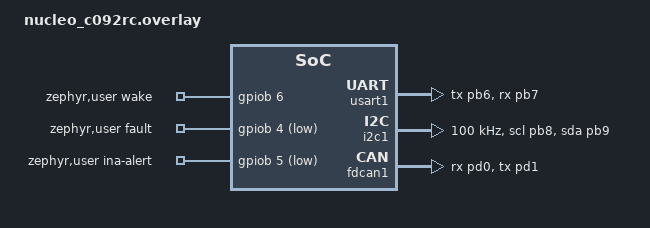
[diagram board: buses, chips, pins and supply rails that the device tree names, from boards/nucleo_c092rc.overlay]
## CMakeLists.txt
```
cmake_minimum_required(VERSION 3.20.0)

find_package(Zephyr REQUIRED HINTS $ENV{ZEPHYR_BASE})
project(bms_firmware)

target_sources(app PRIVATE
    src/main.c
    src/debug/debug.c
    src/uart/uart.c
    src/i2c/i2c.c
    src/can/can.c
    src/protocols/bq796xx_protocol.c
    src/protocols/ina238_protocol.c
    src/protocols/bms_protocol.c
    src/metrics/metrics.c
    src/telemetry/telemetry.c
    src/monitor/init/init.c
    src/monitor/voltage/voltage.c
    src/monitor/temperature/temperature.c
    src/monitor/faults/faults.c
    src/monitor/balancing/balancing.c
    src/monitor/current/current.c
)

target_include_directories(app PRIVATE
    src
    src/debug
    src/uart
    src/i2c
    src/can
    src/protocols
    src/metrics
    src/telemetry
    src/monitor/init
    src/monitor/register_maps
    src/monitor/voltage
    src/monitor/temperature
    src/monitor/faults
    src/monitor/balancing
    src/monitor/current
)
```

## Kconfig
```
mainmenu "BMS Monitor"

menu "Application monitor options"

config APP_VOLTAGE_MONITORING
    bool "Enable voltage monitoring"
    default y
    help
      Enable cell voltage monitoring.

config APP_TEMPERATURE_MONITORING
    bool "Enable temperature monitoring"
    default y
    help
      Enable temperature monitoring.

config APP_CURRENT_MONITORING
    bool "Enable current monitoring"
    default y
    help
      Enable current monitoring.

config APP_FAULT_MONITORING
    bool "Enable fault monitoring"
    default y
    depends on APP_VOLTAGE_MONITORING || APP_TEMPERATURE_MONITORING || APP_CURRENT_MONITORING
    help
      Enable fault monitoring.

config APP_CELL_BALANCING
    bool "Enable cell balancing"
    default y
    depends on APP_VOLTAGE_MONITORING
    help
      Enable cell balancing.

config APP_CAN_TELEMETRY
    bool "Enable CAN telemetry transmission"
    default y
    depends on APP_VOLTAGE_MONITORING || APP_TEMPERATURE_MONITORING || APP_CURRENT_MONITORING
    help
      Enable BMS telemetry transmission over CAN.

endmenu

menu "Application debug options"

config APP_DEBUG_PRINTS
    bool "Enable application debug printing"
    default y
    help
      Master switch for application debug printing helpers.

config APP_DEBUG_VOLTAGES
    bool "Enable voltage debug printing"
    default y
    depends on APP_DEBUG_PRINTS && APP_VOLTAGE_MONITORING
    help
      Print cell voltage debug output.

config APP_DEBUG_TEMPERATURES
    bool "Enable temperature debug printing"
    default y
    depends on APP_DEBUG_PRINTS && APP_TEMPERATURE_MONITORING
    help
      Print temperature debug output.

config APP_DEBUG_CURRENT
    bool "Enable current debug printing"
    default y
    depends on APP_DEBUG_PRINTS && APP_CURRENT_MONITORING
    help
      Print current debug output.

config APP_DEBUG_FAULTS
    bool "Enable fault debug printing"
    default y
    depends on APP_DEBUG_PRINTS && APP_FAULT_MONITORING
    help
      Print fault debug output.

config APP_DEBUG_BALANCING
    bool "Enable cell balancing debug printing"
    default y
    depends on APP_DEBUG_PRINTS && APP_CELL_BALANCING
    help
      Print cell balancing debug output.

config APP_DEBUG_CAN_TELEMETRY
    bool "Enable CAN telemetry debug printing"
    default y
    depends on APP_DEBUG_PRINTS && APP_CAN_TELEMETRY
    help
      Print CAN telemetry debug output.

endmenu

source "Kconfig.zephyr"
```

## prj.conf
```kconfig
CONFIG_GPIO=y
CONFIG_I2C=y
CONFIG_CAN=y
CONFIG_SERIAL=y
CONFIG_CONSOLE=y
CONFIG_LOG=y
CONFIG_LOG_MODE_DEFERRED=y
CONFIG_LOG_DEFAULT_LEVEL=3
CONFIG_LOG_BACKEND_UART=y
CONFIG_PRINTK=y
CONFIG_UART_ASYNC_API=y
CONFIG_UART_USE_RUNTIME_CONFIGURE=y
CONFIG_LOG_BUFFER_SIZE=4096
CONFIG_LOG_MODE_OVERFLOW=y
CONFIG_MAIN_STACK_SIZE=4096
CONFIG_STACK_SENTINEL=y

CONFIG_APP_VOLTAGE_MONITORING=y
CONFIG_APP_TEMPERATURE_MONITORING=y
CONFIG_APP_CURRENT_MONITORING=y
CONFIG_APP_FAULT_MONITORING=y
CONFIG_APP_CELL_BALANCING=y
CONFIG_APP_CAN_TELEMETRY=y

CONFIG_APP_DEBUG_PRINTS=y
CONFIG_APP_DEBUG_VOLTAGES=y
CONFIG_APP_DEBUG_TEMPERATURES=y
CONFIG_APP_DEBUG_CURRENT=y
CONFIG_APP_DEBUG_FAULTS=y
CONFIG_APP_DEBUG_BALANCING=y
CONFIG_APP_DEBUG_CAN_TELEMETRY=y
```

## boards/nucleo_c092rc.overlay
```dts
/ {
	zephyr,user {
		wake-gpios = <&gpiob 6 GPIO_ACTIVE_HIGH>;
		fault-gpios = <&gpiob 4 GPIO_ACTIVE_LOW>;
		ina-alert-gpios = <&gpiob 5 GPIO_ACTIVE_LOW>;
	};
};

&pinctrl {
	usart1_tx_pb6: usart1_tx_pb6 {
		pinmux = <STM32_PINMUX('B', 6, AF0)>;
		bias-pull-up;
	};

	usart1_rx_pb7: usart1_rx_pb7 {
		pinmux = <STM32_PINMUX('B', 7, AF0)>;
	};

	i2c1_scl_pb8: i2c1_scl_pb8 {
		pinmux = <STM32_PINMUX('B', 8, AF6)>;
		bias-pull-up;
		drive-open-drain;
	};

	i2c1_sda_pb9: i2c1_sda_pb9 {
		pinmux = <STM32_PINMUX('B', 9, AF6)>;
		bias-pull-up;
		drive-open-drain;
	};

	fdcan1_rx_pd0: fdcan1_rx_pd0 {
		pinmux = <STM32_PINMUX('D', 0, AF4)>;
	};

	fdcan1_tx_pd1: fdcan1_tx_pd1 {
		pinmux = <STM32_PINMUX('D', 1, AF4)>;
	};
};

&usart1 {
	pinctrl-0 = <&usart1_tx_pb6 &usart1_rx_pb7>;
	pinctrl-names = "default";

	dmas = <&dma1 1 51 (STM32_DMA_PERIPH_TX | STM32_DMA_PRIORITY_HIGH)>,
	       <&dma1 2 50 (STM32_DMA_PERIPH_RX | STM32_DMA_PRIORITY_HIGH)>;
	dma-names = "tx", "rx";
};

&i2c1 {
	pinctrl-0 = <&i2c1_scl_pb8 &i2c1_sda_pb9>;
	pinctrl-names = "default";
	clock-frequency = <I2C_BITRATE_STANDARD>;
};

&fdcan1 {
	pinctrl-0 = <&fdcan1_rx_pd0 &fdcan1_tx_pd1>;
	pinctrl-names = "default";
};
```

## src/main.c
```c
#include "init.h"
#include "debug.h"
#include "voltage.h"
#include "temperature.h"
#include "current.h"
#include "faults.h"
#include "balancing.h"
#include "metrics.h"
#include "telemetry.h"

#include <zephyr/kernel.h>
#include <zephyr/logging/log.h>
#include <stdbool.h>

LOG_MODULE_REGISTER(main, LOG_LEVEL_INF);

#if defined(CONFIG_APP_VOLTAGE_MONITORING) || defined(CONFIG_APP_TEMPERATURE_MONITORING)
#define APP_BQ796XX_MONITORING 1
#endif

int main(void)
{
    int ret;

#if defined(CONFIG_APP_VOLTAGE_MONITORING)
    cell_voltage_data_t voltages;
#endif
#if defined(CONFIG_APP_TEMPERATURE_MONITORING)
    temperature_data_t temperatures;
#endif
#if defined(CONFIG_APP_CURRENT_MONITORING)
    current_data_t current;
#endif
#if defined(CONFIG_APP_FAULT_MONITORING)
    fault_data_t faults = {0};
#endif
#if defined(CONFIG_APP_CAN_TELEMETRY)
    bms_metrics_t metrics;
#endif
#if defined(CONFIG_APP_CELL_BALANCING)
    balancing_data_t balancing = {0};
    balancing_state_t previous_balancing_state;
    uint16_t previous_selected_cells;
#endif

#if defined(CONFIG_APP_CURRENT_MONITORING) || defined(APP_BQ796XX_MONITORING)
    LOG_INF("battery monitor startup");

    ret = monitor_init();
    if (ret < 0)
    {
        LOG_ERR("monitor_init failed: %d", ret);
        return 0;
    }

    LOG_INF("monitor init complete");
#else
    LOG_INF("all monitor backends disabled");
#endif

#if defined(CONFIG_APP_VOLTAGE_MONITORING)
    ret = voltage_init();
    if (ret < 0)
    {
        LOG_ERR("voltage_init failed: %d", ret);
        return 0;
    }

    LOG_INF("voltage init complete");
#else
    LOG_INF("voltage monitoring disabled");
#endif

#if defined(CONFIG_APP_TEMPERATURE_MONITORING)
    ret = temperature_init();
    if (ret < 0)
    {
        LOG_ERR("temperature_init failed: %d", ret);
        return 0;
    }

    LOG_INF("temperature init complete");
#else
    LOG_INF("temperature monitoring disabled");
#endif

#if defined(CONFIG_APP_CURRENT_MONITORING)
    ret = current_init();
    if (ret < 0)
    {
        LOG_ERR("current_init failed: %d", ret);
        return 0;
    }

    LOG_INF("current init complete");
#else
    LOG_INF("current monitoring disabled");
#endif

#if defined(CONFIG_APP_FAULT_MONITORING)
    ret = faults_init();
    if (ret < 0)
    {
        LOG_ERR("faults_init failed: %d", ret);
        return 0;
    }

    LOG_INF("faults init complete");
#else
    LOG_INF("fault monitoring disabled");
#endif

#if defined(CONFIG_APP_CELL_BALANCING)
    ret = balancing_init();
    if (ret < 0)
    {
        LOG_ERR("balancing_init failed: %d", ret);
        return 0;
    }

    LOG_INF("balancing init complete");
#else
    LOG_INF("cell balancing disabled");
#endif

#if defined(CONFIG_APP_CAN_TELEMETRY)
    LOG_INF("CAN telemetry init complete");
#else
    LOG_INF("CAN telemetry disabled");
#endif

    k_msleep(10);

#if defined(APP_BQ796XX_MONITORING)
    ret = commit_customer_crc();
    if (ret < 0)
    {
        LOG_ERR("commit_customer_crc failed: %d", ret);
        return 0;
    }

    LOG_INF("customer CRC commit complete");
#endif

#if defined(CONFIG_APP_FAULT_MONITORING)
    ret = read_faults(&faults);
    if (ret < 0)
    {
        LOG_ERR("read_faults failed: %d", ret);
    }
    else
    {
        debug_print_faults(&faults);
    }

    k_msleep(2000);

    ret = clear_faults();
    if (ret < 0)
    {
        LOG_ERR("clear_faults failed: %d", ret);
    }
    else
    {
        LOG_INF("faults clear complete");
        faults = (fault_data_t){0};
    }

    k_msleep(2000);
#endif

    while (1)
    {
#if defined(CONFIG_APP_CAN_TELEMETRY)
        bool have_voltages = false;
        bool have_temperatures = false;
        bool have_current = false;
#endif
#if defined(CONFIG_APP_FAULT_MONITORING)
        bool had_fault_interrupt = false;
#endif

#if defined(CONFIG_APP_FAULT_MONITORING)
        if (faults_pending())
        {
            faults_clear_pending();
            had_fault_interrupt = true;
        }
#endif

#if defined(CONFIG_APP_VOLTAGE_MONITORING)
        ret = read_cell_voltages(&voltages);
        if (ret < 0)
        {
            LOG_ERR("read_cell_voltages failed: %d", ret);

#if defined(CONFIG_APP_CELL_BALANCING)
            ret = balancing_stop();
            if (ret < 0)
            {
                LOG_ERR("balancing_stop failed: %d", ret);
            }
#endif

            k_msleep(1000);
            continue;
        }

        debug_print_voltages(&voltages);
#if defined(CONFIG_APP_CAN_TELEMETRY)
        have_voltages = true;
#endif
#endif

#if defined(CONFIG_APP_CURRENT_MONITORING)
        ret = read_current(&current);
        if (ret < 0)
        {
            LOG_ERR("read_current failed: %d", ret);
        }
        else
        {
            debug_print_current(&current);
#if defined(CONFIG_APP_CAN_TELEMETRY)
            have_current = true;
#endif
        }
#endif

#if defined(CONFIG_APP_CELL_BALANCING)
        previous_balancing_state = balancing.state;
        previous_selected_cells = balancing.selected_cells;

        ret = balancing_update(&voltages, &balancing);
        if (ret < 0)
        {
            LOG_ERR("balancing_update failed: %d", ret);

            ret = balancing_stop();
            if (ret < 0)
            {
                LOG_ERR("balancing_stop failed: %d", ret);
            }
        }
        else
        {
            if (previous_balancing_state == BALANCING_STATE_RUNNING &&
                balancing.state == BALANCING_STATE_COMPLETE)
            {
                k_msleep(100);
                ret = read_cell_voltages(&voltages);
                if (ret < 0)
                {
                    LOG_ERR("post-balance read_cell_voltages failed: %d", ret);
                }
            }

            debug_print_balancing(&voltages,
                                  &balancing,
                                  previous_balancing_state,
                                  previous_selected_cells);
        }
#endif

#if defined(CONFIG_APP_TEMPERATURE_MONITORING)
        ret = read_temperatures(&temperatures);
        if (ret < 0)
        {
            LOG_ERR("read_temperatures failed: %d", ret);
        }
        else
        {
            debug_print_temperatures(&temperatures);
#if defined(CONFIG_APP_CAN_TELEMETRY)
            have_temperatures = true;
#endif
        }
#endif

#if defined(CONFIG_APP_FAULT_MONITORING)
        ret = read_faults(&faults);
        if (ret < 0)
        {
            LOG_ERR("read_faults failed: %d", ret);
        }
        else if (had_fault_interrupt)
        {
            debug_print_faults(&faults);
        }
#endif

#if defined(CONFIG_APP_CAN_TELEMETRY)
        calculate_metrics(
#if defined(CONFIG_APP_VOLTAGE_MONITORING)
            have_voltages ? &voltages : NULL,
#else
            NULL,
#endif
#if defined(CONFIG_APP_TEMPERATURE_MONITORING)
            have_temperatures ? &temperatures : NULL,
#else
            NULL,
#endif
#if defined(CONFIG_APP_CURRENT_MONITORING)
            have_current ? &current : NULL,
#else
            NULL,
#endif
            &metrics);

        ret = telemetry_transmit(
            &metrics,
#if defined(CONFIG_APP_FAULT_MONITORING)
            &faults
#else
            NULL
#endif
        );
        if (ret < 0)
        {
            LOG_ERR("telemetry_transmit failed: %d", ret);
        }
        else
        {
            debug_print_telemetry(
                &metrics,
#if defined(CONFIG_APP_FAULT_MONITORING)
                &faults
#else
                NULL
#endif
            );
        }
#endif

        k_msleep(1000);
    }

    return 0;
}
```
